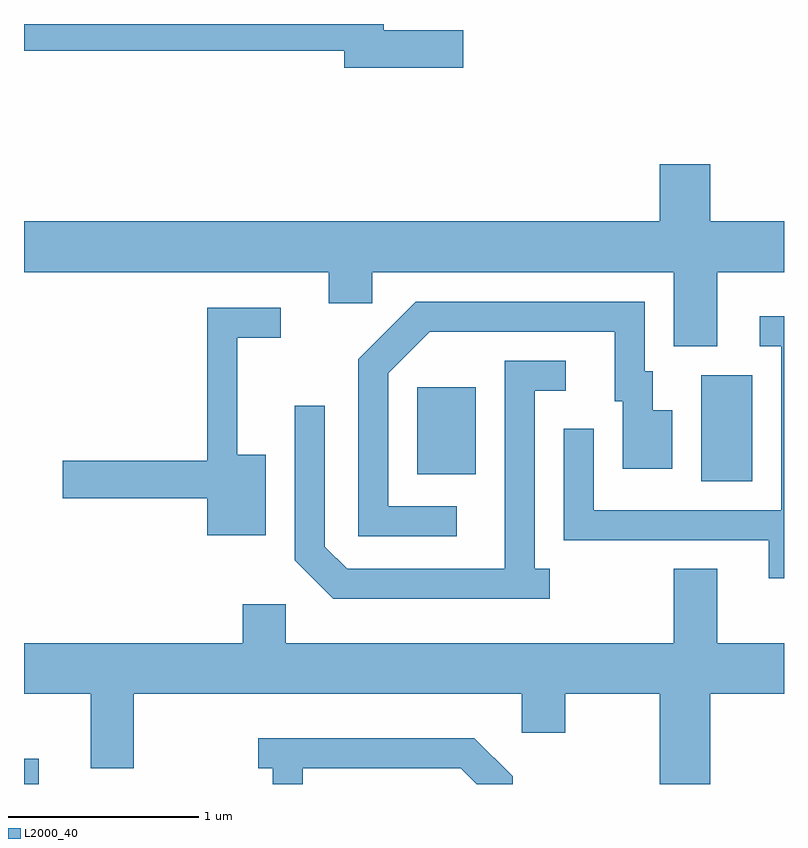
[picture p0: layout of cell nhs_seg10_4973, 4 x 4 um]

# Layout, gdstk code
import gdstk
lib = gdstk.Library(unit=1e-6, precision=1e-09)
def R(c, l, rs):  # rectangles x0, y0, x1, y1
    for r in rs: c.add(gdstk.rectangle(r[:2], r[2:], *l))
def P(c, l, *ps):  # polygons
    for p in ps: c.add(gdstk.Polygon(p, *l))
L2000_40 = (2000, 40)

nhs_seg10_4973 = lib.new_cell('nhs_seg10_4973')
R(nhs_seg10_4973, L2000_40, [(331.611,2144.522,331.689,2144.654), (335.176,2146.116,335.444,2146.674), (333.681,2146.151,333.989,2146.609)])
P(nhs_seg10_4973, L2000_40, [(333.924,2148.489),(333.504,2148.489),(333.504,2148.522),(331.611,2148.522),(331.611,2148.381),(333.296,2148.381),(333.296,2148.291),(333.924,2148.291)],
  [(335.259,2147.216),(335.611,2147.216),(335.611,2147.484),(335.224,2147.484),(335.224,2147.784),(334.956,2147.784),(334.956,2147.484),(331.611,2147.484),(331.611,2147.216),(333.216,2147.216),(333.216,2147.051),(333.444,2147.051),(333.444,2147.216),(335.031,2147.216),(335.031,2146.826),(335.259,2146.826)],
  [(333.888,2145.984),(333.529,2145.984),(333.529,2146.684),(333.747,2146.901),(334.721,2146.901),(334.721,2146.536),(334.761,2146.536),(334.761,2146.181),(335.024,2146.181),(335.024,2146.489),(334.919,2146.489),(334.919,2146.694),(334.879,2146.694),(334.879,2147.059),(333.674,2147.059),(333.371,2146.757),(333.371,2145.826),(333.888,2145.826)],
  [(332.884,2146.254),(332.734,2146.254),(332.734,2146.871),(332.963,2146.871),(332.963,2147.029),(332.576,2147.029),(332.576,2146.224),(331.816,2146.224),(331.816,2146.026),(332.576,2146.026),(332.576,2145.831),(332.884,2145.831)],
  [(335.611,2146.984),(335.483,2146.984),(335.483,2146.826),(335.596,2146.826),(335.596,2145.964),(334.609,2145.964),(334.609,2146.393),(334.451,2146.393),(334.451,2145.806),(335.531,2145.806),(335.531,2145.606),(335.611,2145.606)],
  [(334.378,2145.654),(334.299,2145.654),(334.299,2146.591),(334.463,2146.591),(334.463,2146.749),(334.141,2146.749),(334.141,2145.654),(333.312,2145.654),(333.194,2145.772),(333.194,2146.513),(333.036,2146.513),(333.036,2145.699),(333.239,2145.496),(334.378,2145.496)],
  [(332.989,2145.469),(332.761,2145.469),(332.761,2145.264),(331.611,2145.264),(331.611,2144.996),(331.961,2144.996),(331.961,2144.606),(332.189,2144.606),(332.189,2144.996),(334.231,2144.996),(334.231,2144.791),(334.459,2144.791),(334.459,2144.996),(334.956,2144.996),(334.956,2144.522),(335.224,2144.522),(335.224,2144.996),(335.611,2144.996),(335.611,2145.264),(335.259,2145.264),(335.259,2145.654),(335.031,2145.654),(335.031,2145.264),(332.989,2145.264)],
  [(333.079,2144.606),(333.909,2144.606),(333.993,2144.522),(334.184,2144.522),(334.184,2144.562),(333.982,2144.764),(332.843,2144.764),(332.843,2144.606),(332.921,2144.606),(332.921,2144.522),(333.079,2144.522)])

lib.write_gds('nhs_seg10_4973.gds')
